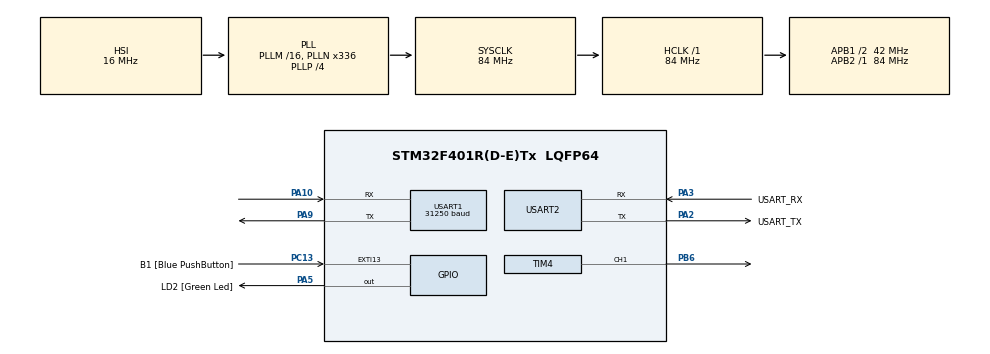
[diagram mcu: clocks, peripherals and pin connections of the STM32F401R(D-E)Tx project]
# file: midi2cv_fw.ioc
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Mcu.Family=STM32F4
Mcu.Name=STM32F401R(D-E)Tx
Mcu.Package=LQFP64
NVIC.PriorityGroup=NVIC_PRIORITYGROUP_0
NVIC.USART1_IRQn=true\:0\:0\:false\:false\:true
PA10.Mode=Asynchronous
PA10.Signal=USART1_RX
PA13.GPIO_Label=TMS
PA13.Signal=SYS_JTMS-SWDIO
PA14.GPIO_Label=TCK
PA14.Signal=SYS_JTCK-SWCLK
PA2.GPIO_Label=USART_TX
PA2.GPIO_Mode=GPIO_MODE_AF_PP
PA2.GPIO_PuPd=GPIO_NOPULL
PA2.GPIO_Speed=GPIO_SPEED_FREQ_LOW
PA2.Mode=Asynchronous
PA2.Signal=USART2_TX
PA3.GPIO_Label=USART_RX
PA3.GPIO_Mode=GPIO_MODE_AF_PP
PA3.GPIO_PuPd=GPIO_NOPULL
PA3.GPIO_Speed=GPIO_SPEED_FREQ_LOW
PA3.Mode=Asynchronous
PA3.Signal=USART2_RX
PA5.GPIO_Label=LD2 [Green Led]
PA5.GPIO_Mode=GPIO_MODE_OUTPUT_PP
PA5.GPIO_PuPd=GPIO_NOPULL
PA5.GPIO_Speed=GPIO_SPEED_FREQ_LOW
PA5.Signal=GPIO_Output
PA9.Mode=Asynchronous
PA9.Signal=USART1_TX
PB3.GPIO_Label=SWO
PB3.Signal=SYS_JTDO-SWO
PB6.Signal=S_TIM4_CH1
PC13-ANTI_TAMP.GPIO_Label=B1 [Blue PushButton]
PC13-ANTI_TAMP.GPIO_ModeDefaultEXTI=GPIO_MODE_IT_FALLING
PC13-ANTI_TAMP.GPIO_PuPd=GPIO_NOPULL
PC13-ANTI_TAMP.Signal=GPXTI13
PC14-OSC32_IN.Signal=RCC_OSC32_IN
PC15-OSC32_OUT.Signal=RCC_OSC32_OUT
PH0\ -\ OSC_IN.Signal=RCC_OSC_IN
PH1\ -\ OSC_OUT.Signal=RCC_OSC_OUT
ProjectManager.HeapSize=0x200
ProjectManager.StackSize=0x400
ProjectManager.TargetToolchain=Makefile
RCC.AHBFreq_Value=84000000
RCC.APB1CLKDivider=RCC_HCLK_DIV2
RCC.APB1Freq_Value=42000000
RCC.APB1TimFreq_Value=84000000
RCC.APB2Freq_Value=84000000
RCC.APB2TimFreq_Value=84000000
RCC.CortexFreq_Value=84000000
RCC.HCLKFreq_Value=84000000
RCC.HSE_VALUE=8000000
RCC.HSI_VALUE=16000000
RCC.LSE_VALUE=32768
RCC.PLLN=336
RCC.PLLP=RCC_PLLP_DIV4
RCC.PLLQ=7
RCC.SYSCLKFreq_VALUE=84000000
RCC.SYSCLKSource=RCC_SYSCLKSOURCE_PLLCLK
RCC.VCOOutputFreq_Value=336000000
SH.S_TIM4_CH1.0=TIM4_CH1,PWM Generation1 CH1
TIM4.Channel-PWM\ Generation1\ CH1=TIM_CHANNEL_1
TIM4.Period=255
TIM4.Prescaler=0
USART1.BaudRate=31250
USART1.VirtualMode=VM_ASYNC
USART2.VirtualMode=VM_ASYNC
board=NUCLEO-F401RE

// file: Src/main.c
/**
  ******************************************************************************
  * File Name          : main.c
  * Description        : Main program body
  ******************************************************************************
  ** This notice applies to any and all portions of this file
  * that are not between comment pairs USER CODE BEGIN and
  * USER CODE END. Other portions of this file, whether
  * inserted by the user or by software development tools
  * are owned by their respective copyright owners.
  *
  * COPYRIGHT(c) 2019 STMicroelectronics
  *
  * Redistribution and use in source and binary forms, with or without modification,
  * are permitted provided that the following conditions are met:
  *   1. Redistributions of source code must retain the above copyright notice,
  *      this list of conditions and the following disclaimer.
  *   2. Redistributions in binary form must reproduce the above copyright notice,
  *      this list of conditions and the following disclaimer in the documentation
  *      and/or other materials provided with the distribution.
  *   3. Neither the name of STMicroelectronics nor the names of its contributors
  *      may be used to endorse or promote products derived from this software
  *      without specific prior written permission.
  *
  * THIS SOFTWARE IS PROVIDED BY THE COPYRIGHT HOLDERS AND CONTRIBUTORS "AS IS"
  * AND ANY EXPRESS OR IMPLIED WARRANTIES, INCLUDING, BUT NOT LIMITED TO, THE
  * IMPLIED WARRANTIES OF MERCHANTABILITY AND FITNESS FOR A PARTICULAR PURPOSE ARE
  * DISCLAIMED. IN NO EVENT SHALL THE COPYRIGHT HOLDER OR CONTRIBUTORS BE LIABLE
  * FOR ANY DIRECT, INDIRECT, INCIDENTAL, SPECIAL, EXEMPLARY, OR CONSEQUENTIAL
  * DAMAGES (INCLUDING, BUT NOT LIMITED TO, PROCUREMENT OF SUBSTITUTE GOODS OR
  * SERVICES; LOSS OF USE, DATA, OR PROFITS; OR BUSINESS INTERRUPTION) HOWEVER
  * CAUSED AND ON ANY THEORY OF LIABILITY, WHETHER IN CONTRACT, STRICT LIABILITY,
  * OR TORT (INCLUDING NEGLIGENCE OR OTHERWISE) ARISING IN ANY WAY OUT OF THE USE
  * OF THIS SOFTWARE, EVEN IF ADVISED OF THE POSSIBILITY OF SUCH DAMAGE.
  *
  ******************************************************************************
  */
#include "main.h"
#include "stm32f4xx_hal.h"

/* USER CODE BEGIN Includes */
#include <string.h>
#include <math.h>
#include "nanomidi.h"

/* USER CODE END Includes */

TIM_HandleTypeDef htim4;

UART_HandleTypeDef huart1;
UART_HandleTypeDef huart2;

/* USER CODE BEGIN PV */
/* Private variables ---------------------------------------------------------*/

char midi_rx[1];

/* USER CODE END PV */

void SystemClock_Config(void);
static void MX_GPIO_Init(void);
static void MX_USART2_UART_Init(void);
static void MX_USART1_UART_Init(void);
static void MX_TIM4_Init(void);
void HAL_TIM_MspPostInit(TIM_HandleTypeDef *htim);

/* USER CODE BEGIN PFP */
/* Private function prototypes -----------------------------------------------*/

/* USER CODE END PFP */

/* USER CODE BEGIN 0 */

char str[64];

const float SLOPE = 15.0;
const float OFFSET = 150.0;

void set_freq(float freq) {
  uint16_t value = (uint16_t)(SLOPE * freq + OFFSET);

  sprintf(str, "v %d\n", value);
  HAL_UART_Transmit(&huart2, (uint8_t*)str, (uint16_t)strlen(str), HAL_MAX_DELAY);
  // HAL_DAC_SetValue(&hdac1, DAC_CHANNEL_1, DAC_ALIGN_12B_R, value);
}

void pwm_set(uint16_t value) {
    TIM_OC_InitTypeDef sConfigOC;

    sConfigOC.OCMode = TIM_OCMODE_PWM1;
    sConfigOC.Pulse = value;
    sConfigOC.OCPolarity = TIM_OCPOLARITY_HIGH;
    sConfigOC.OCFastMode = TIM_OCFAST_DISABLE;
    HAL_TIM_PWM_ConfigChannel(&htim4, &sConfigOC, TIM_CHANNEL_1);
    HAL_TIM_PWM_Start(&htim4, TIM_CHANNEL_1);
}

struct midi_buffer buf;

void HAL_UART_RxCpltCallback(UART_HandleTypeDef* huart) {
  HAL_UART_Receive_IT(&huart1, midi_rx, 1);

  midi_parse(&buf, midi_rx, 1);

  /*
  float f = pow(2, ((float)midi_rx[0] - 69) / 10.0) * 440.0;
  sprintf(str, "f %d ", (uint32_t)midi_rx[0]);
  HAL_UART_Transmit(&huart2, (uint8_t*)str, (uint16_t)strlen(str), HAL_MAX_DELAY);
  */

  // set_freq(f);
}

#define NOTE_ARRAY_SIZE 8
uint8_t note_array[NOTE_ARRAY_SIZE] = {0};
size_t current_note = 0;

void add_note(uint8_t note) {
  for(size_t i = 0; i < NOTE_ARRAY_SIZE; i++) {
    if(note_array[i] == 0) {
      note_array[i] = note;
      return;
    }
  }
}

void remove_note(uint8_t note) {
  for(size_t i = 0; i < NOTE_ARRAY_SIZE; i++) {
    if(note_array[i] == note) {
      note_array[i] = 0;
    }
  }
}

uint8_t next_note() {
  static size_t current_playing_note = 0;

  for(size_t i = 0; i < NOTE_ARRAY_SIZE; i++) {
    uint8_t note_idx = (i + current_playing_note) % NOTE_ARRAY_SIZE;
    if(note_array[note_idx] > 0) {
      current_playing_note = note_idx + 1;
      return note_array[note_idx];
    }
  }

  return 0;
}

uint8_t note_size() {
  uint8_t size = 0;
  for(size_t i = 0; i < NOTE_ARRAY_SIZE; i++) {
    if(note_array[i] > 0) {
      size += 1;
    }
  }

  return size;
}

void handle_msg(struct midi_msg *msg) {
  switch(msg->type) {
    case MIDI_NOTE_ON:
      /*
      sprintf(str, "Noteon note=%d vel=%d\n", msg->channel, msg->data[0], msg->data[1]);
      HAL_UART_Transmit(&huart2, (uint8_t*)str, (uint16_t)strlen(str), HAL_MAX_DELAY);
      */

      if(msg->data[1] > 0) {
        add_note(msg->data[0]);
        // HAL_GPIO_WritePin(LD2_GPIO_Port, LD2_Pin, GPIO_PIN_SET);
      } else {
        remove_note(msg->data[0]);
        // HAL_GPIO_WritePin(LD2_GPIO_Port, LD2_Pin, GPIO_PIN_RESET);
      }

      /*
      sprintf(str, "Note size: %d\n", note_size());
      HAL_UART_Transmit(&huart2, (uint8_t*)str, (uint16_t)strlen(str), HAL_MAX_DELAY);
      */

      break;
    case MIDI_NOTE_OFF:
      // sprintf(str, "Note off #%d note=%d velocity=%d\n", msg->channel, msg->data[0], msg->data[1]);
      // HAL_UART_Transmit(&huart2, (uint8_t*)str, (uint16_t)strlen(str), HAL_MAX_DELAY);

      remove_note(msg->data[0]);

      // HAL_GPIO_WritePin(LD2_GPIO_Port, LD2_Pin, GPIO_PIN_RESET);
      break;
    case MIDI_PROGRAM_CHANGE:
      // printf("Program change #%d program=%d\n", msg->channel, msg->data[0]);
      break;
    default:
      break;
    }
}

/* USER CODE END 0 */

int main(void)
{

  /* MCU Configuration----------------------------------------------------------*/

  /* Reset of all peripherals, Initializes the Flash interface and the Systick. */
  HAL_Init();

  /* Configure the system clock */
  SystemClock_Config();

  /* Initialize all configured peripherals */
  MX_GPIO_Init();
  MX_USART2_UART_Init();
  MX_USART1_UART_Init();
  MX_TIM4_Init();

  /* USER CODE BEGIN 2 */

  midi_buffer_init(&buf);
  buf.callback = handle_msg;
  buf.channel_mask = 0xff;

  HAL_UART_Receive_IT(&huart1, midi_rx, 1);

  sprintf(str, "\n\n==== uRack start ====\n");
  HAL_UART_Transmit(&huart2, (uint8_t*)str, (uint16_t)strlen(str), HAL_MAX_DELAY);

  // HAL_DAC_Start(&hdac1, DAC_CHANNEL_1);

  /* USER CODE END 2 */

  /* Infinite loop */
  /* USER CODE BEGIN WHILE */
  // uint16_t value = 1000; // 332 Hz
  // uint16_t value = 500; // 183
  // uint16_t value = 250; // 95

  while (1)
  {
    if(note_size() > 0) {
      HAL_GPIO_WritePin(LD2_GPIO_Port, LD2_Pin, GPIO_PIN_SET);

      size_t _note_size = note_size();
      for(size_t i = 0; i < _note_size; i++) {
        sprintf(str, "note:%d ", next_note());
        HAL_UART_Transmit(&huart2, (uint8_t*)str, (uint16_t)strlen(str), HAL_MAX_DELAY);
      }
      sprintf(str, "\n");
      HAL_UART_Transmit(&huart2, (uint8_t*)str, (uint16_t)strlen(str), HAL_MAX_DELAY);

      int16_t note = next_note() - 73;
      if(note > 0) {
        pwm_set((uint16_t)(note * 78 / 12));
      }
    } else {
      HAL_GPIO_WritePin(LD2_GPIO_Port, LD2_Pin, GPIO_PIN_RESET);
    }

    if(note_size() > 1) {
      HAL_Delay(25);
      HAL_GPIO_WritePin(LD2_GPIO_Port, LD2_Pin, GPIO_PIN_RESET);
      HAL_Delay(5);
      HAL_GPIO_WritePin(LD2_GPIO_Port, LD2_Pin, GPIO_PIN_SET);
    }

  /* USER CODE END WHILE */

  }

}

/** System Clock Configuration
*/
void SystemClock_Config(void)
{

  RCC_OscInitTypeDef RCC_OscInitStruct;
  RCC_ClkInitTypeDef RCC_ClkInitStruct;

    /**Configure the main internal regulator output voltage
    */
  __HAL_RCC_PWR_CLK_ENABLE();

  __HAL_PWR_VOLTAGESCALING_CONFIG(PWR_REGULATOR_VOLTAGE_SCALE2);

    /**Initializes the CPU, AHB and APB busses clocks
    */
  RCC_OscInitStruct.OscillatorType = RCC_OSCILLATORTYPE_HSI;
  RCC_OscInitStruct.HSIState = RCC_HSI_ON;
  RCC_OscInitStruct.HSICalibrationValue = 16;
  RCC_OscInitStruct.PLL.PLLState = RCC_PLL_ON;
  RCC_OscInitStruct.PLL.PLLSource = RCC_PLLSOURCE_HSI;
  RCC_OscInitStruct.PLL.PLLM = 16;
  RCC_OscInitStruct.PLL.PLLN = 336;
  RCC_OscInitStruct.PLL.PLLP = RCC_PLLP_DIV4;
  RCC_OscInitStruct.PLL.PLLQ = 7;
  if (HAL_RCC_OscConfig(&RCC_OscInitStruct) != HAL_OK)
  {
    _Error_Handler(__FILE__, __LINE__);
  }

    /**Initializes the CPU, AHB and APB busses clocks
    */
  RCC_ClkInitStruct.ClockType = RCC_CLOCKTYPE_HCLK|RCC_CLOCKTYPE_SYSCLK
                              |RCC_CLOCKTYPE_PCLK1|RCC_CLOCKTYPE_PCLK2;
  RCC_ClkInitStruct.SYSCLKSource = RCC_SYSCLKSOURCE_PLLCLK;
  RCC_ClkInitStruct.AHBCLKDivider = RCC_SYSCLK_DIV1;
  RCC_ClkInitStruct.APB1CLKDivider = RCC_HCLK_DIV2;
  RCC_ClkInitStruct.APB2CLKDivider = RCC_HCLK_DIV1;

  if (HAL_RCC_ClockConfig(&RCC_ClkInitStruct, FLASH_LATENCY_2) != HAL_OK)
  {
    _Error_Handler(__FILE__, __LINE__);
  }

    /**Configure the Systick interrupt time
    */
  HAL_SYSTICK_Config(HAL_RCC_GetHCLKFreq()/1000);

    /**Configure the Systick
    */
  HAL_SYSTICK_CLKSourceConfig(SYSTICK_CLKSOURCE_HCLK);

  /* SysTick_IRQn interrupt configuration */
  HAL_NVIC_SetPriority(SysTick_IRQn, 0, 0);
}

/* TIM4 init function */
static void MX_TIM4_Init(void)
{

  TIM_MasterConfigTypeDef sMasterConfig;
  TIM_OC_InitTypeDef sConfigOC;

  htim4.Instance = TIM4;
  htim4.Init.Prescaler = 0;
  htim4.Init.CounterMode = TIM_COUNTERMODE_UP;
  htim4.Init.Period = 255;
  htim4.Init.ClockDivision = TIM_CLOCKDIVISION_DIV1;
  if (HAL_TIM_PWM_Init(&htim4) != HAL_OK)
  {
    _Error_Handler(__FILE__, __LINE__);
  }

  sMasterConfig.MasterOutputTrigger = TIM_TRGO_RESET;
  sMasterConfig.MasterSlaveMode = TIM_MASTERSLAVEMODE_DISABLE;
  if (HAL_TIMEx_MasterConfigSynchronization(&htim4, &sMasterConfig) != HAL_OK)
  {
    _Error_Handler(__FILE__, __LINE__);
  }

  sConfigOC.OCMode = TIM_OCMODE_PWM1;
  sConfigOC.Pulse = 0;
  sConfigOC.OCPolarity = TIM_OCPOLARITY_HIGH;
  sConfigOC.OCFastMode = TIM_OCFAST_DISABLE;
  if (HAL_TIM_PWM_ConfigChannel(&htim4, &sConfigOC, TIM_CHANNEL_1) != HAL_OK)
  {
    _Error_Handler(__FILE__, __LINE__);
  }

  HAL_TIM_MspPostInit(&htim4);

}

/* USART1 init function */
static void MX_USART1_UART_Init(void)
{

  huart1.Instance = USART1;
  huart1.Init.BaudRate = 31250;
  huart1.Init.WordLength = UART_WORDLENGTH_8B;
  huart1.Init.StopBits = UART_STOPBITS_1;
  huart1.Init.Parity = UART_PARITY_NONE;
  huart1.Init.Mode = UART_MODE_TX_RX;
  huart1.Init.HwFlowCtl = UART_HWCONTROL_NONE;
  huart1.Init.OverSampling = UART_OVERSAMPLING_16;
  if (HAL_UART_Init(&huart1) != HAL_OK)
  {
    _Error_Handler(__FILE__, __LINE__);
  }

}

/* USART2 init function */
static void MX_USART2_UART_Init(void)
{

  huart2.Instance = USART2;
  huart2.Init.BaudRate = 115200;
  huart2.Init.WordLength = UART_WORDLENGTH_8B;
  huart2.Init.StopBits = UART_STOPBITS_1;
  huart2.Init.Parity = UART_PARITY_NONE;
  huart2.Init.Mode = UART_MODE_TX_RX;
  huart2.Init.HwFlowCtl = UART_HWCONTROL_NONE;
  huart2.Init.OverSampling = UART_OVERSAMPLING_16;
  if (HAL_UART_Init(&huart2) != HAL_OK)
  {
    _Error_Handler(__FILE__, __LINE__);
  }

}

/** Configure pins as
        * Analog
        * Input
        * Output
        * EVENT_OUT
        * EXTI
*/
static void MX_GPIO_Init(void)
{

  GPIO_InitTypeDef GPIO_InitStruct;

  /* GPIO Ports Clock Enable */
  __HAL_RCC_GPIOC_CLK_ENABLE();
  __HAL_RCC_GPIOH_CLK_ENABLE();
  __HAL_RCC_GPIOA_CLK_ENABLE();
  __HAL_RCC_GPIOB_CLK_ENABLE();

  /*Configure GPIO pin Output Level */
  HAL_GPIO_WritePin(LD2_GPIO_Port, LD2_Pin, GPIO_PIN_RESET);

  /*Configure GPIO pin : B1_Pin */
  GPIO_InitStruct.Pin = B1_Pin;
  GPIO_InitStruct.Mode = GPIO_MODE_IT_FALLING;
  GPIO_InitStruct.Pull = GPIO_NOPULL;
  HAL_GPIO_Init(B1_GPIO_Port, &GPIO_InitStruct);

  /*Configure GPIO pin : LD2_Pin */
  GPIO_InitStruct.Pin = LD2_Pin;
  GPIO_InitStruct.Mode = GPIO_MODE_OUTPUT_PP;
  GPIO_InitStruct.Pull = GPIO_NOPULL;
  GPIO_InitStruct.Speed = GPIO_SPEED_FREQ_LOW;
  HAL_GPIO_Init(LD2_GPIO_Port, &GPIO_InitStruct);

}

void _Error_Handler(char * file, int line)
{
  while(1)
  {
  }
}

/************************ (C) COPYRIGHT STMicroelectronics *****END OF FILE****/
